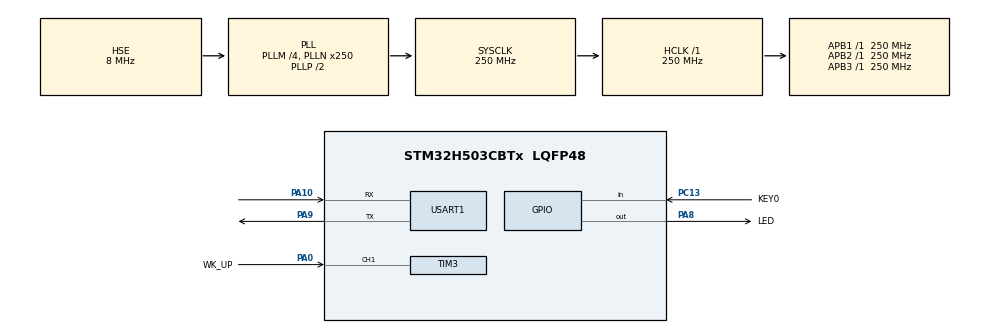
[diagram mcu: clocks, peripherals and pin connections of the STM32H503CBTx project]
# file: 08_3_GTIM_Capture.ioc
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BOOTPATH.BootPathName=LEGACY
BOOTPATH.UserSelectedBootPath=LEGACY
Mcu.Family=STM32H5
Mcu.Name=STM32H503CBTx
Mcu.Package=LQFP48
NVIC.PriorityGroup=NVIC_PRIORITYGROUP_2
NVIC.TIM3_IRQn=true\:2\:1\:true\:false\:true\:true\:true\:true
NVIC.USART1_IRQn=true\:2\:2\:true\:false\:true\:true\:true\:true
PA0.GPIO_Label=WK_UP
PA0.GPIO_ModeDefaultPP=GPIO_MODE_AF_PP
PA0.GPIO_PuPd=GPIO_PULLDOWN
PA0.GPIO_Speed=GPIO_SPEED_FREQ_HIGH
PA0.Signal=S_TIM3_CH1
PA10.GPIO_ModeDefaultPP=GPIO_MODE_AF_PP
PA10.GPIO_Speed=GPIO_SPEED_FREQ_LOW
PA10.Mode=Asynchronous
PA10.Signal=USART1_RX
PA8.GPIO_Label=LED
PA8.GPIO_PuPd=GPIO_PULLUP
PA8.GPIO_Speed=GPIO_SPEED_FREQ_HIGH
PA8.PinState=GPIO_PIN_SET
PA8.Signal=GPIO_Output
PA9.GPIO_Speed=GPIO_SPEED_FREQ_HIGH
PA9.Mode=Asynchronous
PA9.Signal=USART1_TX
PC13.GPIO_Label=KEY0
PC13.GPIO_PuPd=GPIO_PULLDOWN
PC13.Signal=GPIO_Input
PC14-OSC32_IN(OSC32_IN).Mode=LSE-External-Oscillator
PC14-OSC32_IN(OSC32_IN).Signal=RCC_OSC32_IN
PC15-OSC32_OUT(OSC32_OUT).Mode=LSE-External-Oscillator
PC15-OSC32_OUT(OSC32_OUT).Signal=RCC_OSC32_OUT
PH0-OSC_IN(PH0).Mode=HSE-External-Oscillator
PH0-OSC_IN(PH0).Signal=RCC_OSC_IN
PH1-OSC_OUT(PH1).Mode=HSE-External-Oscillator
PH1-OSC_OUT(PH1).Signal=RCC_OSC_OUT
ProjectManager.HeapSize=0x200
ProjectManager.StackSize=0x400
ProjectManager.TargetToolchain=STM32CubeIDE
RCC.ADCFreq_Value=250000000
RCC.AHBFreq_Value=250000000
RCC.APB1Freq_Value=250000000
RCC.APB1TimFreq_Value=250000000
RCC.APB2Freq_Value=250000000
RCC.APB2TimFreq_Value=250000000
RCC.APB3Freq_Value=250000000
RCC.CSI_VALUE=4000000
RCC.CortexFreq_Value=250000000
RCC.EPOD_VALUE=8000000
RCC.HCLKFreq_Value=250000000
RCC.HSE_VALUE=8000000
RCC.HSI48_VALUE=48000000
RCC.HSI_VALUE=64000000
RCC.LSIRC_VALUE=32000
RCC.PLLM=4
RCC.PLLN=250
RCC.PLLSourceVirtual=RCC_PLL1_SOURCE_HSE
RCC.SYSCLKFreq_VALUE=250000000
RCC.SYSCLKSource=RCC_SYSCLKSOURCE_PLLCLK
RCC.USBFreq_Value=48000000
RCC.VCOOutputFreq_Value=500000000
SH.S_TIM3_CH1.0=TIM3_CH1,Input_Capture1_from_TI1
TIM3.AutoReloadPreload=TIM_AUTORELOAD_PRELOAD_ENABLE
TIM3.Channel-Input_Capture1_from_TI1=TIM_CHANNEL_1
TIM3.PeriodNoDither=0xFFFF
TIM3.Prescaler=250-1
USART1.VirtualMode=VM_ASYNC
VP_BOOTPATH_VS_BOOTPATH.Mode=BP_Activate
VP_ICACHE_VS_ICACHE.Mode=DefaultMode
VP_MEMORYMAP_VS_MEMORYMAP.Mode=CurAppReg
VP_PWR_VS_DBSignals.Mode=DisableDeadBatterySignals
VP_PWR_VS_LPOM.Mode=PowerOptimisation
VP_PWR_VS_SECSignals.Mode=Security/Privilege
VP_TIM3_VS_ClockSourceINT.Mode=Internal
board=custom

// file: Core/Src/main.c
/**
 ****************************************************************************************************
 * @file        main.c
 * @author      ALIENTEK
 * @brief       General-purpose timer input capture code
 * @license     Copyright (C) 2012-2024, ALIENTEK
 ****************************************************************************************************
 * @attention
 *
 * platform     : ALIENTEK M48-STM32H503 board
 * website      : www.alientek.com
 * forum        : www.openedv.com/forum.php
 *
 * change logs  ：
 * version      data         notes
 * V1.0         20240309     the first version
 *
 ****************************************************************************************************
 */

/* USER CODE BEGIN Header */

/* USER CODE END Header */
#include "main.h"
#include "icache.h"
#include "memorymap.h"
#include "tim.h"
#include "usart.h"
#include "gpio.h"

/* USER CODE BEGIN Includes */
#include "../../BSP/LED/led.h"
#include "../../BSP/KEY/key.h"
/* USER CODE END Includes */

/* USER CODE BEGIN PTD */
extern uint8_t  g_timxchy_cap_sta;  /* Input capture state. */
extern uint16_t g_timxchy_cap_val;  /* Input capture value. */
/* USER CODE END PTD */

void SystemClock_Config(void);

/* USER CODE BEGIN 0 */
/**
 * @brief   Displays information about the experiment
 * @param   None
 * @retval  None
 */
void stm32h503cb_show_mesg(void)
{
	/* The serial port outputs the experimental information */
	printf("\n");
	printf("********************************\r\n");
	printf("STM32H503\r\n");
	printf("GTIM Input Capture Test\r\n");
	printf("ATOM@ALIENTEK\r\n");
	printf("********************************\r\n");
	printf("\r\n");
}
/* USER CODE END 0 */

int main(void)
{
  /* USER CODE BEGIN 1 */
  uint32_t temp = 0;
  uint8_t t = 0;
  /* USER CODE END 1 */

  /* MCU Configuration--------------------------------------------------------*/

  /* Reset of all peripherals, Initializes the Flash interface and the Systick. */
  HAL_Init();

  /* Configure the system clock */
  SystemClock_Config();

  /* Initialize all configured peripherals */
  MX_GPIO_Init();
  MX_ICACHE_Init();
  MX_USART1_UART_Init();
  MX_TIM3_Init();
  /* USER CODE BEGIN 2 */
  stm32h503cb_show_mesg();
  /* USER CODE END 2 */

  /* Infinite loop */
  /* USER CODE BEGIN WHILE */
  while (1)
  {
	  if (g_timxchy_cap_sta & 0X80)       /* A high level was successfully captured. */
	  {
		  temp = g_timxchy_cap_sta & 0X3F;
		  temp *= 65536;                  /* Total overflow time */
		  temp += g_timxchy_cap_val;      /* Get the total high time. */
		  printf("High:%u us\r\n", (unsigned int)temp); /* Print the total peak time */
		  g_timxchy_cap_sta = 0;      	  /* Enable the next capture. */
	  }
	  t++;
	  if (t > 20)                         /* Enter once in 200ms */
	  {
		  t = 0;
		  LED_TOGGLE();                   /* turn over LED */
	  }

	  HAL_Delay(10);                      /* delay 10ms */
    /* USER CODE END WHILE */

  }
}

void SystemClock_Config(void)
{
  RCC_OscInitTypeDef RCC_OscInitStruct = {0};
  RCC_ClkInitTypeDef RCC_ClkInitStruct = {0};

  /** Configure the main internal regulator output voltage
  */
  __HAL_PWR_VOLTAGESCALING_CONFIG(PWR_REGULATOR_VOLTAGE_SCALE0);

  while(!__HAL_PWR_GET_FLAG(PWR_FLAG_VOSRDY)) {}

  /** Initializes the RCC Oscillators according to the specified parameters
  * in the RCC_OscInitTypeDef structure.
  */
  RCC_OscInitStruct.OscillatorType = RCC_OSCILLATORTYPE_HSE;
  RCC_OscInitStruct.HSEState = RCC_HSE_ON;
  RCC_OscInitStruct.PLL.PLLState = RCC_PLL_ON;
  RCC_OscInitStruct.PLL.PLLSource = RCC_PLL1_SOURCE_HSE;
  RCC_OscInitStruct.PLL.PLLM = 4;
  RCC_OscInitStruct.PLL.PLLN = 250;
  RCC_OscInitStruct.PLL.PLLP = 2;
  RCC_OscInitStruct.PLL.PLLQ = 2;
  RCC_OscInitStruct.PLL.PLLR = 2;
  RCC_OscInitStruct.PLL.PLLRGE = RCC_PLL1_VCIRANGE_1;
  RCC_OscInitStruct.PLL.PLLVCOSEL = RCC_PLL1_VCORANGE_WIDE;
  RCC_OscInitStruct.PLL.PLLFRACN = 0;
  if (HAL_RCC_OscConfig(&RCC_OscInitStruct) != HAL_OK)
  {
    Error_Handler();
  }

  /** Initializes the CPU, AHB and APB buses clocks
  */
  RCC_ClkInitStruct.ClockType = RCC_CLOCKTYPE_HCLK|RCC_CLOCKTYPE_SYSCLK
                              |RCC_CLOCKTYPE_PCLK1|RCC_CLOCKTYPE_PCLK2
                              |RCC_CLOCKTYPE_PCLK3;
  RCC_ClkInitStruct.SYSCLKSource = RCC_SYSCLKSOURCE_PLLCLK;
  RCC_ClkInitStruct.AHBCLKDivider = RCC_SYSCLK_DIV1;
  RCC_ClkInitStruct.APB1CLKDivider = RCC_HCLK_DIV1;
  RCC_ClkInitStruct.APB2CLKDivider = RCC_HCLK_DIV1;
  RCC_ClkInitStruct.APB3CLKDivider = RCC_HCLK_DIV1;

  if (HAL_RCC_ClockConfig(&RCC_ClkInitStruct, FLASH_LATENCY_5) != HAL_OK)
  {
    Error_Handler();
  }
}

void Error_Handler(void)
{
  __disable_irq();
  while (1)
  {
  }
}
